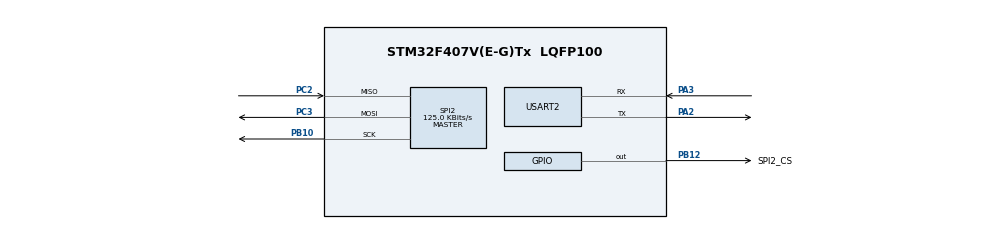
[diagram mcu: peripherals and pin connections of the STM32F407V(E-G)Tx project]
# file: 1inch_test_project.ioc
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FREERTOS.Tasks01=defaultTask,24,128,StartDefaultTask,Default,NULL,Dynamic,NULL,NULL
FREERTOS.configUSE_NEWLIB_REENTRANT=1
Mcu.Family=STM32F4
Mcu.Name=STM32F407V(E-G)Tx
Mcu.Package=LQFP100
NVIC.PriorityGroup=NVIC_PRIORITYGROUP_4
NVIC.SPI2_IRQn=true\:5\:0\:false\:false\:true\:true\:true\:true\:true
NVIC.TIM1_UP_TIM10_IRQn=true\:15\:0\:false\:false\:true\:false\:false\:true\:true
NVIC.TimeBase=TIM1_UP_TIM10_IRQn
NVIC.TimeBaseIP=TIM1
NVIC.USART2_IRQn=true\:5\:0\:false\:false\:true\:true\:true\:true\:true
PA2.Mode=Asynchronous
PA2.Signal=USART2_TX
PA3.Mode=Asynchronous
PA3.Signal=USART2_RX
PB10.Mode=Full_Duplex_Master
PB10.Signal=SPI2_SCK
PB12.GPIO_Label=SPI2_CS
PB12.Signal=GPIO_Output
PC2.GPIO_PuPd=GPIO_NOPULL
PC2.Mode=Full_Duplex_Master
PC2.Signal=SPI2_MISO
PC3.GPIO_PuPd=GPIO_NOPULL
PC3.Mode=Full_Duplex_Master
PC3.Signal=SPI2_MOSI
ProjectManager.HeapSize=0x200
ProjectManager.StackSize=0x400
ProjectManager.TargetToolchain=STM32CubeIDE
RCC.AHBFreq_Value=16000000
RCC.APB1Freq_Value=16000000
RCC.APB2Freq_Value=16000000
RCC.CortexFreq_Value=16000000
RCC.HSE_VALUE=25000000
RCC.HSI_VALUE=16000000
RCC.LSE_VALUE=32768
RCC.SYSCLKFreq_VALUE=16000000
RCC.VCOOutputFreq_Value=192000000
SPI2.BaudRatePrescaler=SPI_BAUDRATEPRESCALER_128
SPI2.CalculateBaudRate=125.0 KBits/s
SPI2.Direction=SPI_DIRECTION_2LINES
SPI2.Mode=SPI_MODE_MASTER
SPI2.VirtualType=VM_MASTER
USART2.VirtualMode=VM_ASYNC
VP_FREERTOS_VS_CMSIS_V2.Mode=CMSIS_V2
VP_SYS_VS_tim1.Mode=TIM1
board=custom

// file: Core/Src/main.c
/* USER CODE BEGIN Header */
/**
  ******************************************************************************
  * @file           : main.c
  * @brief          : Main program body
  ******************************************************************************
  * @attention
  *
  * Copyright (c) 2024 STMicroelectronics.
  * All rights reserved.
  *
  * This software is licensed under terms that can be found in the LICENSE file
  * in the root directory of this software component.
  * If no LICENSE file comes with this software, it is provided AS-IS.
  *
  ******************************************************************************
  */
/* USER CODE END Header */
#include "main.h"
#include "cmsis_os.h"

/* Definitions for defaultTask */
osThreadId_t defaultTaskHandle;
const osThreadAttr_t defaultTask_attributes = {
  .name = "defaultTask",
  .stack_size = 128 * 4,
  .priority = (osPriority_t) osPriorityNormal,
};
/* USER CODE BEGIN PV */
StreamBufferHandle_t xUartRxStreamBuffer, xSpiRxStreamBuffer;
SemaphoreHandle_t xUartTxDoneSemaphore, xSpiTxDoneSemaphore;

/* Definitions for UART_TX_TASK */
osThreadId_t UART_TX_TASKHandle;
const osThreadAttr_t UART_TX_TASK_attributes = {
  .name = "UART_TX_TASK",
  .stack_size = 128 * 4,
  .priority = (osPriority_t) osPriorityLow,
};
/* Definitions for SPI_TX_TASK */
osThreadId_t SPI_TX_TASKHandle;
const osThreadAttr_t SPI_TX_TASK_attributes = {
  .name = "SPI_TX_TASK",
  .stack_size = 128 * 4,
  .priority = (osPriority_t) osPriorityLow,
};

/* USER CODE END PV */

void SystemClock_Config(void);
static void MX_GPIO_Init(void);
static void MX_SPI2_Init(void);
static void MX_USART2_UART_Init(void);
void StartDefaultTask(void *argument);

/* USER CODE BEGIN PFP */
void UartTxTask(void *argument);
void SpiTxTask(void *argument);
/* USER CODE END PFP */

int main(void)
{

  /* MCU Configuration--------------------------------------------------------*/

  /* Reset of all peripherals, Initializes the Flash interface and the Systick. */
  HAL_Init();

  /* Configure the system clock */
  SystemClock_Config();

  /* Initialize all configured peripherals */
  MX_GPIO_Init();
  MX_SPI2_Init();
  MX_USART2_UART_Init();
  /* USER CODE BEGIN 2 */
  xUartRxStreamBuffer = xStreamBufferCreate(1024, 1);
  xSpiRxStreamBuffer = xStreamBufferCreate(1024, 1);
  xUartTxDoneSemaphore = xSemaphoreCreateBinary();
  xSpiTxDoneSemaphore = xSemaphoreCreateBinary();

  __enable_irq();

  /* creation of UART_TX_TASK */
  UART_TX_TASKHandle = osThreadNew(UartTxTask, NULL, &UART_TX_TASK_attributes);

  /* creation of SPI_TX_TASK */
  SPI_TX_TASKHandle = osThreadNew(SpiTxTask, NULL, &SPI_TX_TASK_attributes);
  /* USER CODE END 2 */

  /* Init scheduler */
  osKernelInitialize();

  /* Create the thread(s) */
  /* creation of defaultTask */
  defaultTaskHandle = osThreadNew(StartDefaultTask, NULL, &defaultTask_attributes);

  /* Start scheduler */
  osKernelStart();

  /* We should never get here as control is now taken by the scheduler */

  /* Infinite loop */
  while (1)
  {

  }
}

void SystemClock_Config(void)
{
  LL_FLASH_SetLatency(LL_FLASH_LATENCY_0);
  while(LL_FLASH_GetLatency()!= LL_FLASH_LATENCY_0)
  {
  }
  LL_PWR_SetRegulVoltageScaling(LL_PWR_REGU_VOLTAGE_SCALE1);
  LL_RCC_HSI_SetCalibTrimming(16);
  LL_RCC_HSI_Enable();

   /* Wait till HSI is ready */
  while(LL_RCC_HSI_IsReady() != 1)
  {

  }
  LL_RCC_SetAHBPrescaler(LL_RCC_SYSCLK_DIV_1);
  LL_RCC_SetAPB1Prescaler(LL_RCC_APB1_DIV_1);
  LL_RCC_SetAPB2Prescaler(LL_RCC_APB2_DIV_1);
  LL_RCC_SetSysClkSource(LL_RCC_SYS_CLKSOURCE_HSI);

   /* Wait till System clock is ready */
  while(LL_RCC_GetSysClkSource() != LL_RCC_SYS_CLKSOURCE_STATUS_HSI)
  {

  }
  LL_SetSystemCoreClock(16000000);

   /* Update the time base */
  if (HAL_InitTick (TICK_INT_PRIORITY) != HAL_OK)
  {
    Error_Handler();
  }
}

static void MX_SPI2_Init(void)
{

  LL_SPI_InitTypeDef SPI_InitStruct = {0};

  LL_GPIO_InitTypeDef GPIO_InitStruct = {0};

  /* Peripheral clock enable */
  LL_APB1_GRP1_EnableClock(LL_APB1_GRP1_PERIPH_SPI2);

  LL_AHB1_GRP1_EnableClock(LL_AHB1_GRP1_PERIPH_GPIOC);
  LL_AHB1_GRP1_EnableClock(LL_AHB1_GRP1_PERIPH_GPIOB);
  /**SPI2 GPIO Configuration
  PC2   ------> SPI2_MISO
  PC3   ------> SPI2_MOSI
  PB10   ------> SPI2_SCK
  */
  GPIO_InitStruct.Pin = LL_GPIO_PIN_2|LL_GPIO_PIN_3;
  GPIO_InitStruct.Mode = LL_GPIO_MODE_ALTERNATE;
  GPIO_InitStruct.Speed = LL_GPIO_SPEED_FREQ_VERY_HIGH;
  GPIO_InitStruct.OutputType = LL_GPIO_OUTPUT_PUSHPULL;
  GPIO_InitStruct.Pull = LL_GPIO_PULL_NO;
  GPIO_InitStruct.Alternate = LL_GPIO_AF_5;
  LL_GPIO_Init(GPIOC, &GPIO_InitStruct);

  GPIO_InitStruct.Pin = LL_GPIO_PIN_10;
  GPIO_InitStruct.Mode = LL_GPIO_MODE_ALTERNATE;
  GPIO_InitStruct.Speed = LL_GPIO_SPEED_FREQ_VERY_HIGH;
  GPIO_InitStruct.OutputType = LL_GPIO_OUTPUT_PUSHPULL;
  GPIO_InitStruct.Pull = LL_GPIO_PULL_NO;
  GPIO_InitStruct.Alternate = LL_GPIO_AF_5;
  LL_GPIO_Init(GPIOB, &GPIO_InitStruct);

  /* SPI2 interrupt Init */
  NVIC_SetPriority(SPI2_IRQn, NVIC_EncodePriority(NVIC_GetPriorityGrouping(),5, 0));
  NVIC_EnableIRQ(SPI2_IRQn);

  /* SPI2 parameter configuration*/
  SPI_InitStruct.TransferDirection = LL_SPI_FULL_DUPLEX;
  SPI_InitStruct.Mode = LL_SPI_MODE_MASTER;
  SPI_InitStruct.DataWidth = LL_SPI_DATAWIDTH_8BIT;
  SPI_InitStruct.ClockPolarity = LL_SPI_POLARITY_LOW;
  SPI_InitStruct.ClockPhase = LL_SPI_PHASE_1EDGE;
  SPI_InitStruct.NSS = LL_SPI_NSS_SOFT;
  SPI_InitStruct.BaudRate = LL_SPI_BAUDRATEPRESCALER_DIV128;
  SPI_InitStruct.BitOrder = LL_SPI_MSB_FIRST;
  SPI_InitStruct.CRCCalculation = LL_SPI_CRCCALCULATION_DISABLE;
  SPI_InitStruct.CRCPoly = 10;
  LL_SPI_Init(SPI2, &SPI_InitStruct);
  LL_SPI_SetStandard(SPI2, LL_SPI_PROTOCOL_MOTOROLA);
  /* USER CODE BEGIN SPI2_Init 2 */
  LL_SPI_Enable(SPI2);
  LL_SPI_EnableIT_RXNE(SPI2);
  /* USER CODE END SPI2_Init 2 */

}

static void MX_USART2_UART_Init(void)
{

  LL_USART_InitTypeDef USART_InitStruct = {0};

  LL_GPIO_InitTypeDef GPIO_InitStruct = {0};

  /* Peripheral clock enable */
  LL_APB1_GRP1_EnableClock(LL_APB1_GRP1_PERIPH_USART2);

  LL_AHB1_GRP1_EnableClock(LL_AHB1_GRP1_PERIPH_GPIOA);
  /**USART2 GPIO Configuration
  PA2   ------> USART2_TX
  PA3   ------> USART2_RX
  */
  GPIO_InitStruct.Pin = LL_GPIO_PIN_2|LL_GPIO_PIN_3;
  GPIO_InitStruct.Mode = LL_GPIO_MODE_ALTERNATE;
  GPIO_InitStruct.Speed = LL_GPIO_SPEED_FREQ_VERY_HIGH;
  GPIO_InitStruct.OutputType = LL_GPIO_OUTPUT_PUSHPULL;
  GPIO_InitStruct.Pull = LL_GPIO_PULL_NO;
  GPIO_InitStruct.Alternate = LL_GPIO_AF_7;
  LL_GPIO_Init(GPIOA, &GPIO_InitStruct);

  /* USART2 interrupt Init */
  NVIC_SetPriority(USART2_IRQn, NVIC_EncodePriority(NVIC_GetPriorityGrouping(),5, 0));
  NVIC_EnableIRQ(USART2_IRQn);

  USART_InitStruct.BaudRate = 115200;
  USART_InitStruct.DataWidth = LL_USART_DATAWIDTH_8B;
  USART_InitStruct.StopBits = LL_USART_STOPBITS_1;
  USART_InitStruct.Parity = LL_USART_PARITY_NONE;
  USART_InitStruct.TransferDirection = LL_USART_DIRECTION_TX_RX;
  USART_InitStruct.HardwareFlowControl = LL_USART_HWCONTROL_NONE;
  USART_InitStruct.OverSampling = LL_USART_OVERSAMPLING_16;
  LL_USART_Init(USART2, &USART_InitStruct);
  LL_USART_ConfigAsyncMode(USART2);
  LL_USART_Enable(USART2);
  /* USER CODE BEGIN USART2_Init 2 */
  LL_USART_EnableIT_RXNE(USART2);
  /* USER CODE END USART2_Init 2 */

}

static void MX_GPIO_Init(void)
{
  LL_GPIO_InitTypeDef GPIO_InitStruct = {0};

  /* GPIO Ports Clock Enable */
  LL_AHB1_GRP1_EnableClock(LL_AHB1_GRP1_PERIPH_GPIOC);
  LL_AHB1_GRP1_EnableClock(LL_AHB1_GRP1_PERIPH_GPIOA);
  LL_AHB1_GRP1_EnableClock(LL_AHB1_GRP1_PERIPH_GPIOB);

  /**/
  LL_GPIO_ResetOutputPin(SPI2_CS_GPIO_Port, SPI2_CS_Pin);

  /**/
  GPIO_InitStruct.Pin = SPI2_CS_Pin;
  GPIO_InitStruct.Mode = LL_GPIO_MODE_OUTPUT;
  GPIO_InitStruct.Speed = LL_GPIO_SPEED_FREQ_LOW;
  GPIO_InitStruct.OutputType = LL_GPIO_OUTPUT_PUSHPULL;
  GPIO_InitStruct.Pull = LL_GPIO_PULL_NO;
  LL_GPIO_Init(SPI2_CS_GPIO_Port, &GPIO_InitStruct);

}

/* USER CODE BEGIN 4 */
void UartTxTask(void *argument)
{
  for(;;)
  {
    uint8_t data;
    xStreamBufferReceive(xSpiRxStreamBuffer, &data, 1, portMAX_DELAY);
    LL_USART_TransmitData8(USART2, data);
    LL_USART_EnableIT_TXE(USART2);
    xSemaphoreTake(xUartTxDoneSemaphore, portMAX_DELAY);
  }
}

void SpiTxTask(void *argument)
{
  for(;;)
  {
    uint8_t data;
    // We have to send data even there is no input data to be able to get data from SPI slave
    LL_GPIO_ResetOutputPin(SPI2_CS_GPIO_Port, SPI2_CS_Pin);
    if (xStreamBufferReceive(xUartRxStreamBuffer, &data, 1, pdMS_TO_TICKS(100))) {
      LL_SPI_TransmitData8(SPI2, data);
    } else {
      LL_SPI_TransmitData8(SPI2, 0);
    }
    LL_SPI_EnableIT_TXE(SPI2);
    xSemaphoreTake(xSpiTxDoneSemaphore, portMAX_DELAY);
    LL_GPIO_SetOutputPin(SPI2_CS_GPIO_Port, SPI2_CS_Pin);
  }
}

/* USER CODE END 4 */

void StartDefaultTask(void *argument)
{
  for(;;)
  {
    osDelay(1);
  }
}

void HAL_TIM_PeriodElapsedCallback(TIM_HandleTypeDef *htim)
{
  if (htim->Instance == TIM1) {
    HAL_IncTick();
  }
}

void Error_Handler(void)
{
  __disable_irq();
  while (1)
  {
  }
}
